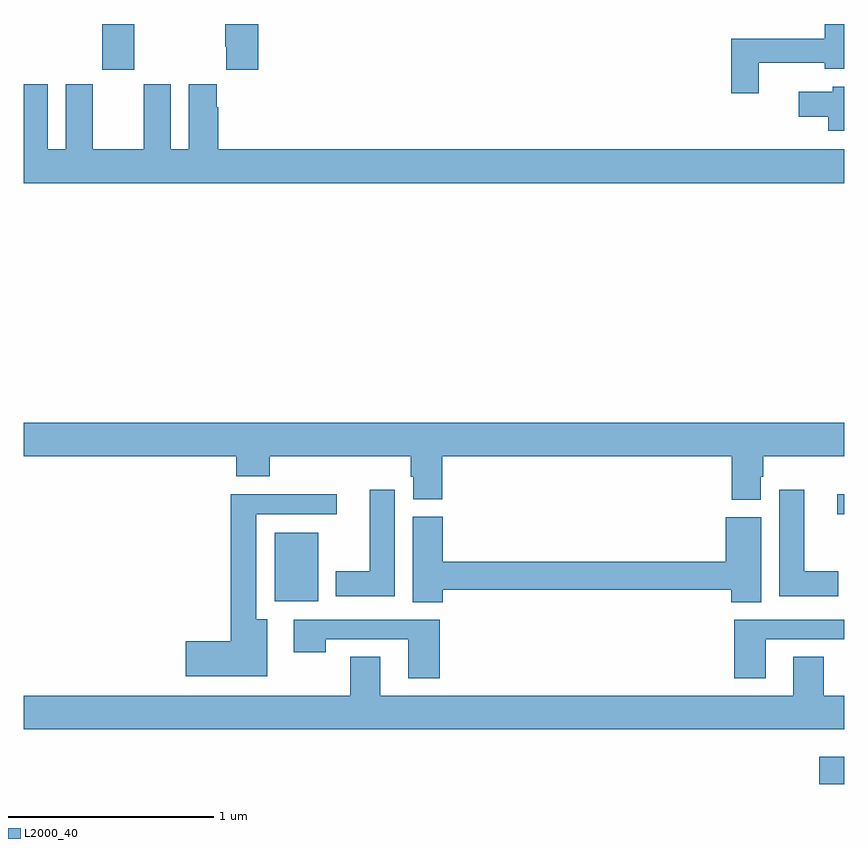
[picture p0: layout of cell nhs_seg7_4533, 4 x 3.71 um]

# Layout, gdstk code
import gdstk
lib = gdstk.Library(unit=1e-6, precision=1e-09)
def R(c, l, rs):  # rectangles x0, y0, x1, y1
    for r in rs: c.add(gdstk.rectangle(r[:2], r[2:], *l))
def P(c, l, *ps):  # polygons
    for p in ps: c.add(gdstk.Polygon(p, *l))
L2000_40 = (2000, 40)

nhs_seg7_4533 = lib.new_cell('nhs_seg7_4533')
R(nhs_seg7_4533, L2000_40, [(398.88,1056.293,399,1056.427), (396.224,1057.184,396.436,1057.519), (398.967,1057.608,399,1057.706), (395.383,1059.777,395.538,1060)])
P(nhs_seg7_4533, L2000_40, [(398.584,1059.812),(398.906,1059.812),(398.906,1059.782),(399,1059.782),(399,1060),(398.906,1060),(398.906,1059.929),(398.45,1059.929),(398.45,1059.663),(398.584,1059.663)],
  [(396.143,1060),(395.983,1060),(395.983,1059.889),(395.987,1059.889),(395.987,1059.777),(396.143,1059.777)],
  [(399,1059.388),(395.948,1059.388),(395.948,1059.593),(395.941,1059.593),(395.941,1059.706),(395.804,1059.706),(395.804,1059.388),(395.716,1059.388),(395.716,1059.706),(395.585,1059.706),(395.585,1059.388),(395.335,1059.388),(395.335,1059.706),(395.204,1059.706),(395.204,1059.388),(395.116,1059.388),(395.116,1059.706),(395,1059.706),(395,1059.224),(399,1059.224)],
  [(399,1059.694),(398.946,1059.694),(398.946,1059.67),(398.778,1059.67),(398.778,1059.548),(398.923,1059.548),(398.923,1059.479),(399,1059.479)],
  [(398.593,1057.791),(398.606,1057.791),(398.606,1057.892),(399,1057.892),(399,1058.056),(395,1058.056),(395,1057.892),(396.035,1057.892),(396.035,1057.793),(396.2,1057.793),(396.2,1057.892),(396.887,1057.892),(396.887,1057.791),(396.899,1057.791),(396.899,1057.681),(397.04,1057.681),(397.04,1057.892),(398.453,1057.892),(398.453,1057.679),(398.593,1057.679)],
  [(398.971,1057.33),(398.806,1057.33),(398.806,1057.729),(398.684,1057.729),(398.684,1057.208),(398.971,1057.208)],
  [(396.808,1057.729),(396.686,1057.729),(396.686,1057.33),(396.521,1057.33),(396.521,1057.208),(396.808,1057.208)],
  [(396.187,1057.096),(396.133,1057.096),(396.133,1057.608),(396.526,1057.608),(396.526,1057.706),(396.008,1057.706),(396.008,1056.989),(395.79,1056.989),(395.79,1056.818),(396.187,1056.818)],
  [(397.043,1057.24),(398.45,1057.24),(398.45,1057.18),(398.596,1057.18),(398.596,1057.594),(398.423,1057.594),(398.423,1057.376),(397.043,1057.376),(397.043,1057.596),(396.896,1057.596),(396.896,1057.18),(397.043,1057.18)],
  [(397.028,1057.095),(396.315,1057.095),(396.315,1056.936),(396.471,1056.936),(396.471,1056.999),(396.875,1056.999),(396.875,1056.81),(397.028,1056.81)],
  [(398.617,1056.999),(399,1056.999),(399,1057.095),(398.465,1057.095),(398.465,1056.81),(398.617,1056.81)],
  [(399,1056.724),(398.901,1056.724),(398.901,1056.914),(398.753,1056.914),(398.753,1056.724),(396.739,1056.724),(396.739,1056.914),(396.592,1056.914),(396.592,1056.724),(395,1056.724),(395,1056.56),(399,1056.56)])

lib.write_gds('nhs_seg7_4533.gds')
